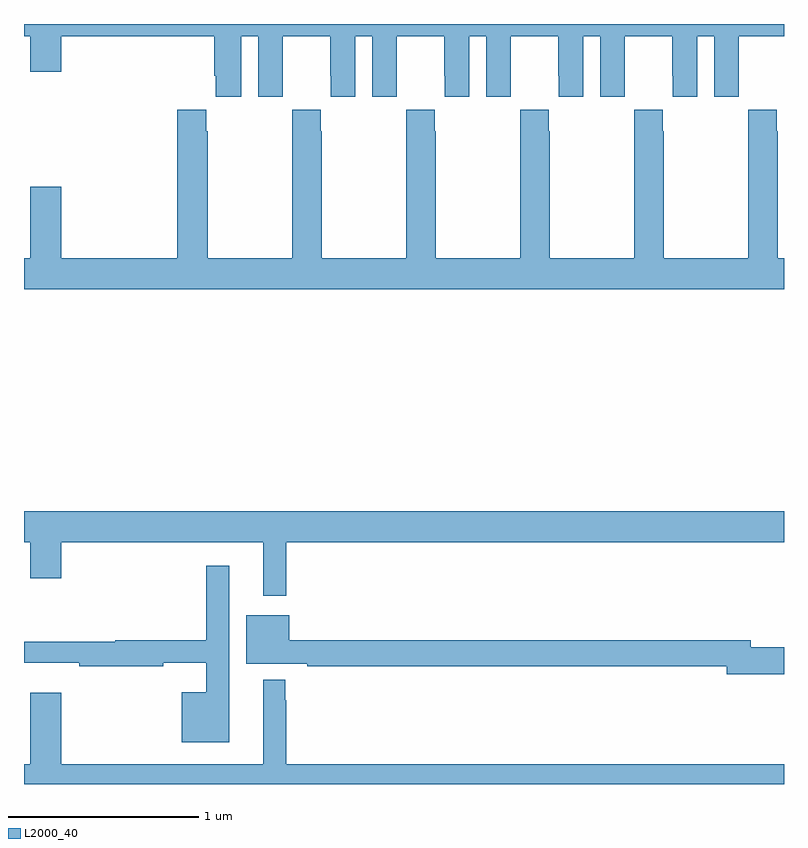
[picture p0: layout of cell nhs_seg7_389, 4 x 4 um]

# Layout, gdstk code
import gdstk
lib = gdstk.Library(unit=1e-6, precision=1e-09)
def P(c, l, *ps):  # polygons
    for p in ps: c.add(gdstk.Polygon(p, *l))
L2000_40 = (2000, 40)

nhs_seg7_389 = lib.new_cell('nhs_seg7_389')
P(nhs_seg7_389, L2000_40, [(141,1013.936),(141.032,1013.936),(141.032,1013.748),(141.196,1013.748),(141.196,1013.936),(142.001,1013.936),(142.001,1013.728),(142.01,1013.728),(142.01,1013.616),(142.144,1013.616),(142.144,1013.936),(142.232,1013.936),(142.232,1013.616),(142.362,1013.616),(142.362,1013.728),(142.363,1013.728),(142.363,1013.936),(142.613,1013.936),(142.613,1013.728),(142.614,1013.728),(142.614,1013.616),(142.744,1013.616),(142.744,1013.936),(142.832,1013.936),(142.832,1013.616),(142.962,1013.616),(142.962,1013.728),(142.963,1013.728),(142.963,1013.936),(143.213,1013.936),(143.213,1013.728),(143.214,1013.728),(143.214,1013.616),(143.344,1013.616),(143.344,1013.936),(143.432,1013.936),(143.432,1013.616),(143.562,1013.616),(143.562,1013.728),(143.563,1013.728),(143.563,1013.936),(143.813,1013.936),(143.813,1013.728),(143.814,1013.728),(143.814,1013.616),(143.944,1013.616),(143.944,1013.936),(144.032,1013.936),(144.032,1013.616),(144.162,1013.616),(144.162,1013.728),(144.163,1013.728),(144.163,1013.936),(144.413,1013.936),(144.413,1013.728),(144.414,1013.728),(144.414,1013.616),(144.544,1013.616),(144.544,1013.936),(144.632,1013.936),(144.632,1013.616),(144.762,1013.616),(144.762,1013.728),(144.763,1013.728),(144.763,1013.936),(145,1013.936),(145,1014),(141,1014)],
  [(145,1012.768),(144.966,1012.768),(144.966,1013.435),(144.963,1013.435),(144.963,1013.548),(144.813,1013.548),(144.813,1013.435),(144.811,1013.435),(144.811,1012.768),(144.366,1012.768),(144.366,1013.435),(144.363,1013.435),(144.363,1013.548),(144.213,1013.548),(144.213,1013.435),(144.211,1013.435),(144.211,1012.768),(143.766,1012.768),(143.766,1013.435),(143.763,1013.435),(143.763,1013.548),(143.613,1013.548),(143.613,1013.435),(143.611,1013.435),(143.611,1012.768),(143.166,1012.768),(143.166,1013.435),(143.163,1013.435),(143.163,1013.548),(143.013,1013.548),(143.013,1013.435),(143.011,1013.435),(143.011,1012.768),(142.566,1012.768),(142.566,1013.435),(142.563,1013.435),(142.563,1013.548),(142.413,1013.548),(142.413,1013.435),(142.411,1013.435),(142.411,1012.768),(141.966,1012.768),(141.966,1013.435),(141.959,1013.435),(141.959,1013.548),(141.806,1013.548),(141.806,1012.768),(141.196,1012.768),(141.196,1013.143),(141.032,1013.143),(141.032,1012.768),(141,1012.768),(141,1012.604),(145,1012.604)],
  [(142.381,1011.272),(145,1011.272),(145,1011.436),(141,1011.436),(141,1011.272),(141.032,1011.272),(141.032,1011.084),(141.196,1011.084),(141.196,1011.272),(142.259,1011.272),(142.259,1010.991),(142.381,1010.991)],
  [(142.081,1011.148),(141.96,1011.148),(141.96,1010.756),(141.481,1010.756),(141.481,1010.749),(141,1010.749),(141,1010.639),(141.292,1010.639),(141.292,1010.62),(141.734,1010.62),(141.734,1010.639),(141.96,1010.639),(141.96,1010.482),(141.83,1010.482),(141.83,1010.219),(142.081,1010.219)],
  [(145,1010.72),(144.826,1010.72),(144.826,1010.756),(142.396,1010.756),(142.396,1010.887),(142.169,1010.887),(142.169,1010.633),(142.492,1010.633),(142.492,1010.62),(144.698,1010.62),(144.698,1010.578),(145,1010.578)],
  [(145,1010.104),(142.381,1010.104),(142.381,1010.441),(142.374,1010.441),(142.374,1010.548),(142.259,1010.548),(142.259,1010.104),(141.196,1010.104),(141.196,1010.479),(141.032,1010.479),(141.032,1010.104),(141,1010.104),(141,1010),(145,1010)])

lib.write_gds('nhs_seg7_389.gds')
